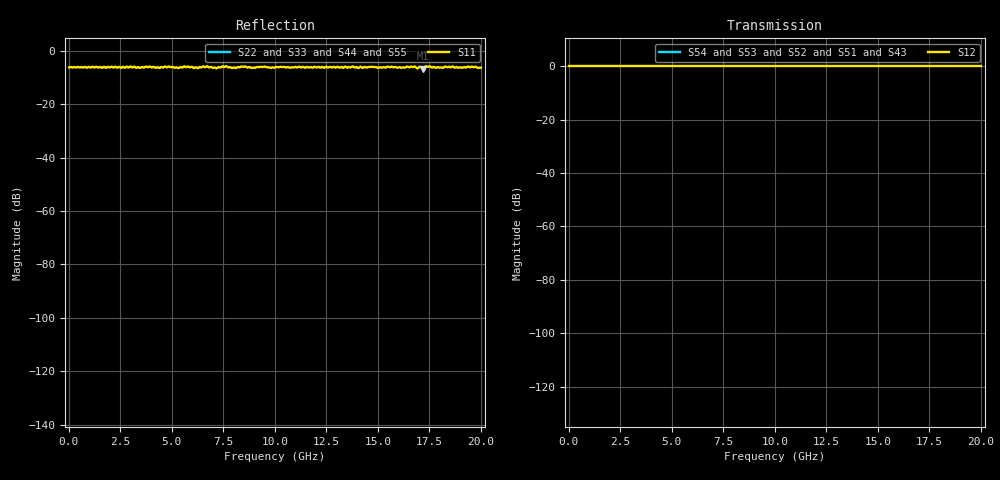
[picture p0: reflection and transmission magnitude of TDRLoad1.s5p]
! File created by SignalIntegrity v1.3.3: Signal and Power Integrity Tools
! https://github.com/TeledyneLeCroy/SignalIntegrity
# MHz S MA R 50.0
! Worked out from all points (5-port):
!   1000 points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, 20 MHz to 20 GHz, reference 50 ohm
!   strongest paths, dB at 20 MHz, 5.02 GHz, 10.02 GHz, 15.02 GHz, 20 GHz:
!     S12: 0.0, 0.0, 0.0, 0.0, 0.0
!     S54: -, -, -, -, -
!     S53: -, -, -, -, -
!     S52: -, -, -, -, -
!     S51: -, -, -, -, -
!     S43: -, -, -, -, -
!   lowest |S11| = -6.6 dB at 17.2 GHz (marker M1), VSWR 2.74, Z = 137 + j1.67 ohm
!   |S11| at or under -10 dB: nowhere
